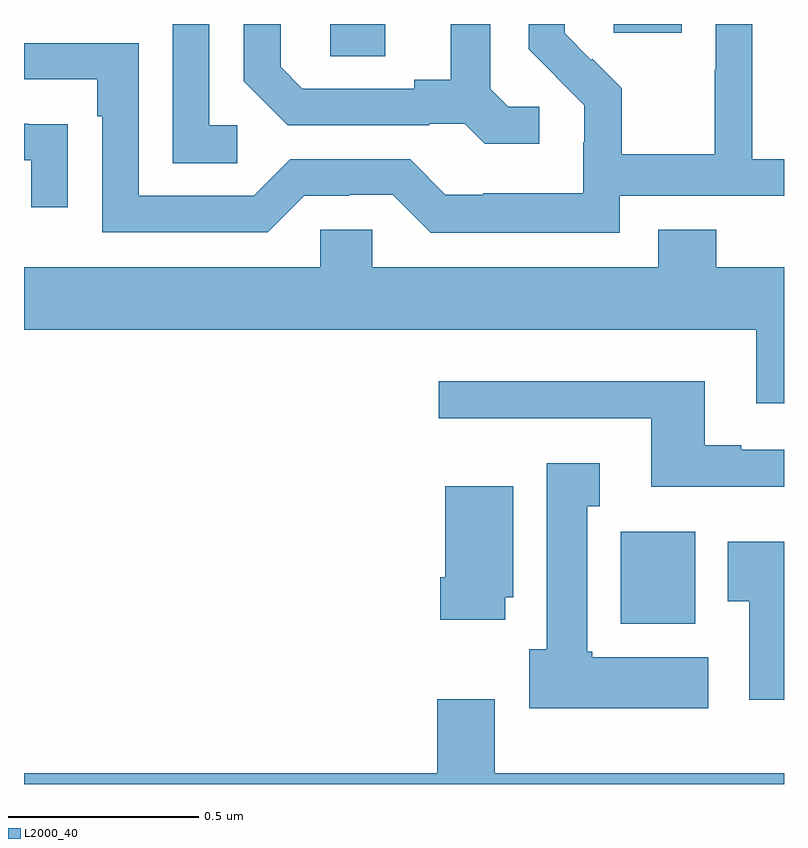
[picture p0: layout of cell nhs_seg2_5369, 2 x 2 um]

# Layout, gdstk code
import gdstk
lib = gdstk.Library(unit=1e-6, precision=1e-09)
def R(c, l, rs):  # rectangles x0, y0, x1, y1
    for r in rs: c.add(gdstk.rectangle(r[:2], r[2:], *l))
def P(c, l, *ps):  # polygons
    for p in ps: c.add(gdstk.Polygon(p, *l))
L2000_40 = (2000, 40)

nhs_seg2_5369 = lib.new_cell('nhs_seg2_5369')
R(nhs_seg2_5369, L2000_40, [(179.57,620.222,179.767,620.464), (178.806,621.715,178.951,621.8), (179.552,621.777,179.731,621.8)])
P(nhs_seg2_5369, L2000_40, [(179.356,621.582),(179.274,621.582),(179.227,621.629),(179.227,621.8),(179.123,621.8),(179.123,621.653),(179.027,621.653),(179.027,621.63),(178.732,621.63),(178.675,621.687),(178.675,621.8),(178.578,621.8),(178.578,621.65),(178.694,621.534),(179.066,621.534),(179.066,621.537),(179.16,621.537),(179.212,621.485),(179.356,621.485)],
  [(178.561,621.534),(178.488,621.534),(178.488,621.8),(178.392,621.8),(178.392,621.433),(178.561,621.433)],
  [(179.568,621.348),(180,621.348),(180,621.444),(179.916,621.444),(179.916,621.8),(179.82,621.8),(179.82,621.68),(179.818,621.68),(179.818,621.457),(179.573,621.457),(179.573,621.631),(179.496,621.708),(179.493,621.705),(179.423,621.776),(179.423,621.8),(179.328,621.8),(179.328,621.734),(179.401,621.661),(179.4,621.66),(179.474,621.586),(179.474,621.489),(179.472,621.489),(179.472,621.355),(179.209,621.355),(179.209,621.351),(179.109,621.351),(179.016,621.444),(178.701,621.444),(178.605,621.348),(178.302,621.348),(178.302,621.75),(178,621.75),(178,621.654),(178.193,621.654),(178.193,621.557),(178.206,621.557),(178.206,621.252),(178.641,621.252),(178.737,621.348),(178.856,621.348),(178.856,621.351),(178.971,621.351),(179.071,621.251),(179.568,621.251)],
  [(178.115,621.536),(178.013,621.536),(178.013,621.537),(178,621.537),(178,621.441),(178.019,621.441),(178.019,621.318),(178.115,621.318)],
  [(180,621.16),(179.822,621.16),(179.822,621.259),(179.669,621.259),(179.669,621.16),(178.917,621.16),(178.917,621.258),(178.779,621.258),(178.779,621.16),(178,621.16),(178,620.996),(179.927,620.996),(179.927,620.802),(180,620.802)],
  [(180,620.679),(179.887,620.679),(179.887,620.692),(179.791,620.692),(179.791,620.86),(179.091,620.86),(179.091,620.763),(179.651,620.763),(179.651,620.582),(180,620.582)],
  [(179.8,620.134),(179.496,620.134),(179.496,620.148),(179.482,620.148),(179.482,620.531),(179.515,620.531),(179.515,620.644),(179.375,620.644),(179.375,620.154),(179.33,620.154),(179.33,620),(179.8,620)],
  [(179.266,620.292),(179.287,620.292),(179.287,620.584),(179.108,620.584),(179.108,620.344),(179.096,620.344),(179.096,620.232),(179.266,620.232)],
  [(180,620.437),(179.852,620.437),(179.852,620.281),(179.909,620.281),(179.909,620.022),(180,620.022)],
  [(180,619.828),(179.239,619.828),(179.239,620.023),(179.087,620.023),(179.087,619.828),(178,619.828),(178,619.8),(180,619.8)])

lib.write_gds('nhs_seg2_5369.gds')
